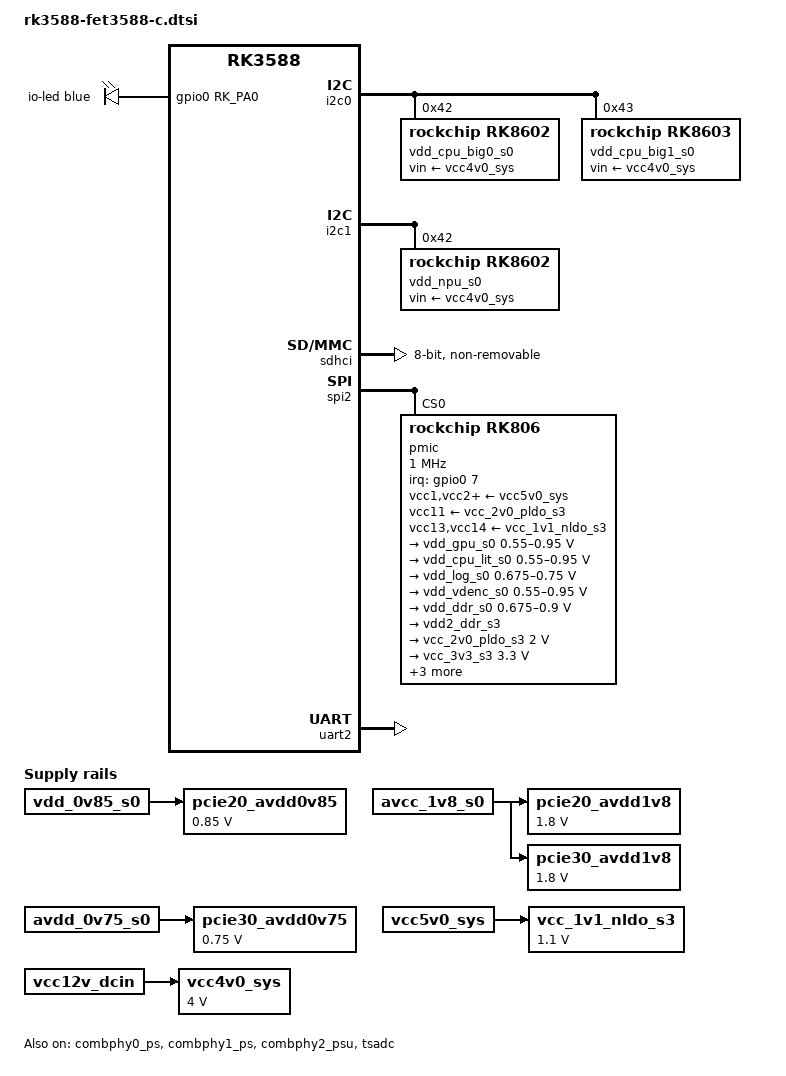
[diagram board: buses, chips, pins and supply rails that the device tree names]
// SPDX-License-Identifier: (GPL-2.0+ OR MIT)

#include <dt-bindings/gpio/gpio.h>
#include <dt-bindings/input/input.h>
#include <dt-bindings/leds/common.h>
#include "rk3588.dtsi"

/ {
	compatible = "forlinx,fet3588-c", "rockchip,rk3588";

	aliases {
		mmc0 = &sdhci;
	};

	chosen {
		stdout-path = "serial2:1500000n8";
	};

	leds {
		compatible = "gpio-leds";
		pinctrl-names = "default";
		pinctrl-0 = <&led_rgb_b>;

		io-led {
			function = LED_FUNCTION_STATUS;
			color = <LED_COLOR_ID_BLUE>;
			gpios = <&gpio0 RK_PA0 GPIO_ACTIVE_HIGH>;
			linux,default-trigger = "heartbeat";
		};
	};

	pcie20_avdd0v85: regulator-pcie20-avdd0v85 {
		compatible = "regulator-fixed";
		regulator-name = "pcie20_avdd0v85";
		regulator-always-on;
		regulator-boot-on;
		regulator-min-microvolt = <850000>;
		regulator-max-microvolt = <850000>;
		vin-supply = <&vdd_0v85_s0>;
	};

	pcie20_avdd1v8: regulator-pcie20-avdd1v8 {
		compatible = "regulator-fixed";
		regulator-name = "pcie20_avdd1v8";
		regulator-always-on;
		regulator-boot-on;
		regulator-min-microvolt = <1800000>;
		regulator-max-microvolt = <1800000>;
		vin-supply = <&avcc_1v8_s0>;
	};

	pcie30_avdd0v75: regulator-pcie30-avdd0v75 {
		compatible = "regulator-fixed";
		regulator-name = "pcie30_avdd0v75";
		regulator-always-on;
		regulator-boot-on;
		regulator-min-microvolt = <750000>;
		regulator-max-microvolt = <750000>;
		vin-supply = <&avdd_0v75_s0>;
	};

	pcie30_avdd1v8: regulator-pcie30-avdd1v8 {
		compatible = "regulator-fixed";
		regulator-name = "pcie30_avdd1v8";
		regulator-always-on;
		regulator-boot-on;
		regulator-min-microvolt = <1800000>;
		regulator-max-microvolt = <1800000>;
		vin-supply = <&avcc_1v8_s0>;
	};

	vcc_1v1_nldo_s3: regulator-vcc-1v1-nldo-s3 {
		compatible = "regulator-fixed";
		regulator-name = "vcc_1v1_nldo_s3";
		regulator-always-on;
		regulator-boot-on;
		regulator-min-microvolt = <1100000>;
		regulator-max-microvolt = <1100000>;
		vin-supply = <&vcc5v0_sys>;
	};

	vcc4v0_sys: regulator-vcc4v0-sys {
		compatible = "regulator-fixed";
		regulator-name = "vcc4v0_sys";
		regulator-always-on;
		regulator-boot-on;
		regulator-min-microvolt = <4000000>;
		regulator-max-microvolt = <4000000>;
		vin-supply = <&vcc12v_dcin>;
	};
};

&combphy0_ps {
	status = "okay";
};

&combphy1_ps {
	status = "okay";
};

&combphy2_psu {
	status = "okay";
};

&cpu_b0 {
	cpu-supply = <&vdd_cpu_big0_s0>;
	mem-supply = <&vdd_cpu_big0_s0>;
};

&cpu_b1 {
	cpu-supply = <&vdd_cpu_big0_s0>;
	mem-supply = <&vdd_cpu_big0_s0>;
};

&cpu_b2 {
	cpu-supply = <&vdd_cpu_big1_s0>;
	mem-supply = <&vdd_cpu_big1_s0>;
};

&cpu_b3 {
	cpu-supply = <&vdd_cpu_big1_s0>;
	mem-supply = <&vdd_cpu_big1_s0>;
};

&cpu_l0 {
	cpu-supply = <&vdd_cpu_lit_s0>;
	mem-supply = <&vdd_cpu_lit_mem_s0>;
};

&cpu_l1 {
	cpu-supply = <&vdd_cpu_lit_s0>;
	mem-supply = <&vdd_cpu_lit_mem_s0>;
};

&cpu_l2 {
	cpu-supply = <&vdd_cpu_lit_s0>;
	mem-supply = <&vdd_cpu_lit_mem_s0>;
};

&cpu_l3 {
	cpu-supply = <&vdd_cpu_lit_s0>;
	mem-supply = <&vdd_cpu_lit_mem_s0>;
};

&i2c0 {
	pinctrl-names = "default";
	pinctrl-0 = <&i2c0m2_xfer>;
	status = "okay";

	vdd_cpu_big0_s0: regulator@42 {
		compatible = "rockchip,rk8602";
		reg = <0x42>;
		fcs,suspend-voltage-selector = <1>;
		regulator-name = "vdd_cpu_big0_s0";
		regulator-always-on;
		regulator-boot-on;
		regulator-min-microvolt = <550000>;
		regulator-max-microvolt = <1050000>;
		regulator-ramp-delay = <2300>;
		vin-supply = <&vcc4v0_sys>;

		regulator-state-mem {
			regulator-off-in-suspend;
		};
	};

	vdd_cpu_big1_s0: regulator@43 {
		compatible = "rockchip,rk8603", "rockchip,rk8602";
		reg = <0x43>;
		fcs,suspend-voltage-selector = <1>;
		regulator-name = "vdd_cpu_big1_s0";
		regulator-always-on;
		regulator-boot-on;
		regulator-min-microvolt = <550000>;
		regulator-max-microvolt = <1050000>;
		regulator-ramp-delay = <2300>;
		vin-supply = <&vcc4v0_sys>;

		regulator-state-mem {
			regulator-off-in-suspend;
		};
	};
};

&i2c1 {
	status = "okay";
	pinctrl-names = "default";
	pinctrl-0 = <&i2c1m2_xfer>;

	vdd_npu_s0: regulator@42 {
		compatible = "rockchip,rk8602";
		reg = <0x42>;
		fcs,suspend-voltage-selector = <1>;
		regulator-name = "vdd_npu_s0";
		regulator-always-on;
		regulator-boot-on;
		regulator-min-microvolt = <550000>;
		regulator-max-microvolt = <950000>;
		regulator-ramp-delay = <2300>;
		vin-supply = <&vcc4v0_sys>;

		regulator-state-mem {
			regulator-off-in-suspend;
		};
	};
};

&pinctrl {
	leds {
		led_rgb_b: led-rgb-b {
			rockchip,pins = <0 RK_PA0 RK_FUNC_GPIO &pcfg_pull_none>;
		};
	};
};

&sdhci {
	bus-width = <8>;
	mmc-hs400-1_8v;
	mmc-hs400-enhanced-strobe;
	no-sdio;
	no-sd;
	non-removable;
	status = "okay";
};

&spi2 {
	status = "okay";
	assigned-clocks = <&cru CLK_SPI2>;
	assigned-clock-rates = <200000000>;
	pinctrl-names = "default";
	pinctrl-0 = <&spi2m2_cs0 &spi2m2_pins>;
	num-cs = <1>;

	pmic@0 {
		compatible = "rockchip,rk806";
		spi-max-frequency = <1000000>;
		reg = <0x0>;

		interrupt-parent = <&gpio0>;
		interrupts = <7 IRQ_TYPE_LEVEL_LOW>;

		pinctrl-names = "default";
		pinctrl-0 = <&pmic_pins>, <&rk806_dvs1_null>,
			    <&rk806_dvs2_null>, <&rk806_dvs3_null>;

		system-power-controller;

		vcc1-supply = <&vcc5v0_sys>;
		vcc2-supply = <&vcc5v0_sys>;
		vcc3-supply = <&vcc5v0_sys>;
		vcc4-supply = <&vcc5v0_sys>;
		vcc5-supply = <&vcc5v0_sys>;
		vcc6-supply = <&vcc5v0_sys>;
		vcc7-supply = <&vcc5v0_sys>;
		vcc8-supply = <&vcc5v0_sys>;
		vcc9-supply = <&vcc5v0_sys>;
		vcc10-supply = <&vcc5v0_sys>;
		vcc11-supply = <&vcc_2v0_pldo_s3>;
		vcc12-supply = <&vcc5v0_sys>;
		vcc13-supply = <&vcc_1v1_nldo_s3>;
		vcc14-supply = <&vcc_1v1_nldo_s3>;
		vcca-supply = <&vcc5v0_sys>;

		gpio-controller;
		#gpio-cells = <2>;

		rk806_dvs1_null: dvs1-null-pins {
			pins = "gpio_pwrctrl1";
			function = "pin_fun0";
		};

		rk806_dvs2_null: dvs2-null-pins {
			pins = "gpio_pwrctrl2";
			function = "pin_fun0";
		};

		rk806_dvs3_null: dvs3-null-pins {
			pins = "gpio_pwrctrl3";
			function = "pin_fun0";
		};

		regulators {
			vdd_gpu_s0: vdd_gpu_mem_s0: dcdc-reg1 {
				regulator-boot-on;
				regulator-min-microvolt = <550000>;
				regulator-max-microvolt = <950000>;
				regulator-ramp-delay = <12500>;
				regulator-name = "vdd_gpu_s0";
				regulator-enable-ramp-delay = <400>;

				regulator-state-mem {
					regulator-off-in-suspend;
				};
			};

			vdd_cpu_lit_s0: vdd_cpu_lit_mem_s0: dcdc-reg2 {
				regulator-always-on;
				regulator-boot-on;
				regulator-min-microvolt = <550000>;
				regulator-max-microvolt = <950000>;
				regulator-ramp-delay = <12500>;
				regulator-name = "vdd_cpu_lit_s0";

				regulator-state-mem {
					regulator-off-in-suspend;
				};
			};

			vdd_log_s0: dcdc-reg3 {
				regulator-always-on;
				regulator-boot-on;
				regulator-min-microvolt = <675000>;
				regulator-max-microvolt = <750000>;
				regulator-ramp-delay = <12500>;
				regulator-name = "vdd_log_s0";

				regulator-state-mem {
					regulator-off-in-suspend;
					regulator-suspend-microvolt = <750000>;
				};
			};

			vdd_vdenc_s0: vdd_vdenc_mem_s0: dcdc-reg4 {
				regulator-always-on;
				regulator-boot-on;
				regulator-min-microvolt = <550000>;
				regulator-max-microvolt = <950000>;
				regulator-ramp-delay = <12500>;
				regulator-name = "vdd_vdenc_s0";

				regulator-state-mem {
					regulator-off-in-suspend;
				};
			};

			vdd_ddr_s0: dcdc-reg5 {
				regulator-always-on;
				regulator-boot-on;
				regulator-min-microvolt = <675000>;
				regulator-max-microvolt = <900000>;
				regulator-ramp-delay = <12500>;
				regulator-name = "vdd_ddr_s0";

				regulator-state-mem {
					regulator-off-in-suspend;
					regulator-suspend-microvolt = <850000>;
				};
			};

			vdd2_ddr_s3: dcdc-reg6 {
				regulator-always-on;
				regulator-boot-on;
				regulator-name = "vdd2_ddr_s3";

				regulator-state-mem {
					regulator-on-in-suspend;
				};
			};

			vcc_2v0_pldo_s3: dcdc-reg7 {
				regulator-always-on;
				regulator-boot-on;
				regulator-min-microvolt = <2000000>;
				regulator-max-microvolt = <2000000>;
				regulator-ramp-delay = <12500>;
				regulator-name = "vdd_2v0_pldo_s3";

				regulator-state-mem {
					regulator-on-in-suspend;
					regulator-suspend-microvolt = <2000000>;
				};
			};

			vcc_3v3_s3: dcdc-reg8 {
				regulator-always-on;
				regulator-boot-on;
				regulator-min-microvolt = <3300000>;
				regulator-max-microvolt = <3300000>;
				regulator-name = "vcc_3v3_s3";

				regulator-state-mem {
					regulator-on-in-suspend;
					regulator-suspend-microvolt = <3300000>;
				};
			};

			vddq_ddr_s0: dcdc-reg9 {
				regulator-always-on;
				regulator-boot-on;
				regulator-name = "vddq_ddr_s0";

				regulator-state-mem {
					regulator-off-in-suspend;
				};
			};

			vcc_1v8_s3: dcdc-reg10 {
				regulator-always-on;
				regulator-boot-on;
				regulator-min-microvolt = <1800000>;
				regulator-max-microvolt = <1800000>;
				regulator-name = "vcc_1v8_s3";

				regulator-state-mem {
					regulator-on-in-suspend;
					regulator-suspend-microvolt = <1800000>;
				};
			};

			avcc_1v8_s0: pldo-reg1 {
				regulator-always-on;
				regulator-boot-on;
				regulator-min-microvolt = <1800000>;
				regulator-max-microvolt = <1800000>;
				regulator-name = "avcc_1v8_s0";

				regulator-state-mem {
					regulator-off-in-suspend;
				};
			};

			vcc_1v8_s0: pldo-reg2 {
				regulator-always-on;
				regulator-boot-on;
				regulator-min-microvolt = <1800000>;
				regulator-max-microvolt = <1800000>;
				regulator-name = "vcc_1v8_s0";

				regulator-state-mem {
					regulator-off-in-suspend;
					regulator-suspend-microvolt = <1800000>;
				};
			};

			avdd_1v2_s0: pldo-reg3 {
				regulator-always-on;
				regulator-boot-on;
				regulator-min-microvolt = <1200000>;
				regulator-max-microvolt = <1200000>;
				regulator-name = "avdd_1v2_s0";

				regulator-state-mem {
					regulator-off-in-suspend;
				};
			};

			vcc_3v3_s0: pldo-reg4 {
				regulator-always-on;
				regulator-boot-on;
				regulator-min-microvolt = <3300000>;
				regulator-max-microvolt = <3300000>;
				regulator-ramp-delay = <12500>;
				regulator-name = "vcc_3v3_s0";

				regulator-state-mem {
					regulator-off-in-suspend;
				};
			};

			vccio_sd_s0: pldo-reg5 {
				regulator-always-on;
				regulator-boot-on;
				regulator-min-microvolt = <1800000>;
				regulator-max-microvolt = <3300000>;
				regulator-ramp-delay = <12500>;
				regulator-name = "vccio_sd_s0";

				regulator-state-mem {
					regulator-off-in-suspend;
				};
			};

			pldo6_s3: pldo-reg6 {
				regulator-always-on;
				regulator-boot-on;
				regulator-min-microvolt = <1800000>;
				regulator-max-microvolt = <1800000>;
				regulator-name = "pldo6_s3";

				regulator-state-mem {
					regulator-on-in-suspend;
					regulator-suspend-microvolt = <1800000>;
				};
			};

			vdd_0v75_s3: nldo-reg1 {
				regulator-always-on;
				regulator-boot-on;
				regulator-min-microvolt = <750000>;
				regulator-max-microvolt = <750000>;
				regulator-name = "vdd_0v75_s3";

				regulator-state-mem {
					regulator-on-in-suspend;
					regulator-suspend-microvolt = <750000>;
				};
			};

			vdd_ddr_pll_s0: nldo-reg2 {
				regulator-always-on;
				regulator-boot-on;
				regulator-min-microvolt = <850000>;
				regulator-max-microvolt = <850000>;
				regulator-name = "vdd_ddr_pll_s0";

				regulator-state-mem {
					regulator-off-in-suspend;
					regulator-suspend-microvolt = <850000>;
				};
			};

			avdd_0v75_s0: nldo-reg3 {
				regulator-always-on;
				regulator-boot-on;
				regulator-min-microvolt = <750000>;
				regulator-max-microvolt = <750000>;
				regulator-name = "avdd_0v75_s0";

				regulator-state-mem {
					regulator-off-in-suspend;
				};
			};

			vdd_0v85_s0: nldo-reg4 {
				regulator-always-on;
				regulator-boot-on;
				regulator-min-microvolt = <850000>;
				regulator-max-microvolt = <850000>;
				regulator-name = "vdd_0v85_s0";

				regulator-state-mem {
					regulator-off-in-suspend;
				};
			};

			vdd_0v75_s0: nldo-reg5 {
				regulator-always-on;
				regulator-boot-on;
				regulator-min-microvolt = <750000>;
				regulator-max-microvolt = <750000>;
				regulator-name = "vdd_0v75_s0";

				regulator-state-mem {
					regulator-off-in-suspend;
				};
			};
		};
	};
};

&tsadc {
	status = "okay";
};

&uart2 {
	pinctrl-0 = <&uart2m0_xfer>;
	status = "okay";
};
